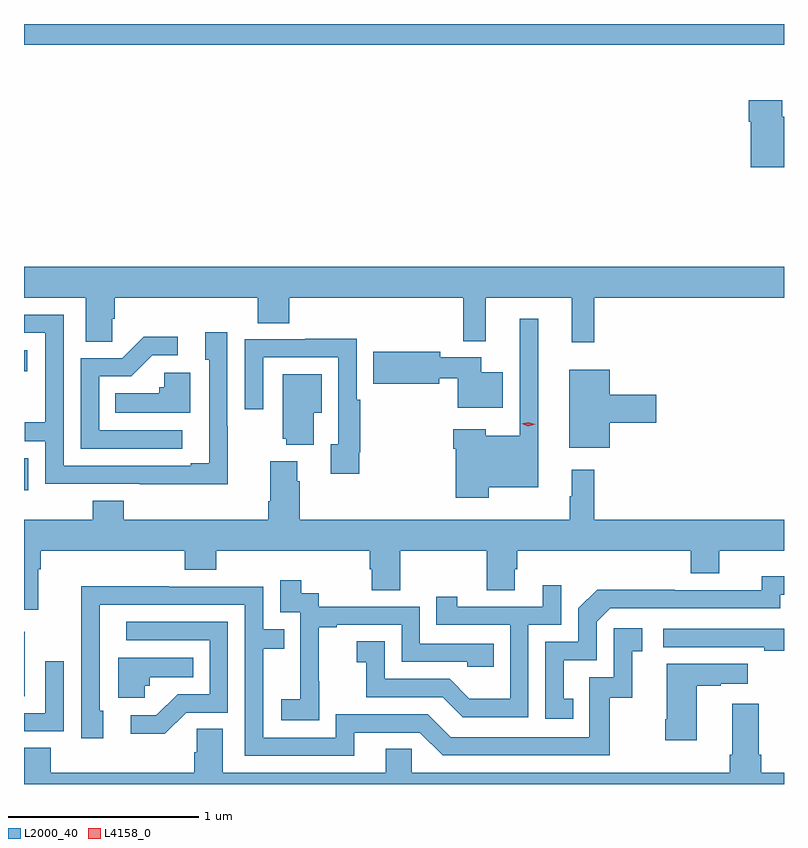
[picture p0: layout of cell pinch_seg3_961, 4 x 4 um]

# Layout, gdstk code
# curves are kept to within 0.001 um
import gdstk
lib = gdstk.Library(unit=1e-6, precision=1e-09)
def R(c, l, rs):  # rectangles x0, y0, x1, y1
    for r in rs: c.add(gdstk.rectangle(r[:2], r[2:], *l))
def P(c, l, *ps):  # polygons
    for p in ps: c.add(gdstk.Polygon(p, *l))
L2000_40 = (2000, 40)
L4158_0 = (4158, 0)

pinch_seg3_961 = lib.new_cell('pinch_seg3_961')
R(pinch_seg3_961, L2000_40, [(435.688,726.791,435.691,727.131), (435.688,727.875,435.711,728.043), (435.688,728.501,435.706,728.611), (435.688,730.22,439.688,730.329)])
P(pinch_seg3_961, L2000_40, [(439.688,729.841),(439.68,729.841),(439.68,729.928),(439.502,729.928),(439.502,729.815),(439.514,729.815),(439.514,729.575),(439.688,729.575)],
  [(438.689,728.888),(439.688,728.888),(439.688,729.052),(435.688,729.052),(435.688,728.888),(436.013,728.888),(436.013,728.656),(436.152,728.656),(436.152,728.779),(436.166,728.779),(436.166,728.888),(436.919,728.888),(436.919,728.755),(437.084,728.755),(437.084,728.888),(438.001,728.888),(438.001,728.66),(438.119,728.66),(438.119,728.888),(438.572,728.888),(438.572,728.655),(438.689,728.655)],
  [(436.761,728.213),(436.758,728.213),(436.758,728.707),(436.643,728.707),(436.643,728.562),(436.662,728.562),(436.662,728.017),(436.565,728.017),(436.565,728.004),(435.897,728.004),(435.897,728.799),(435.688,728.799),(435.688,728.703),(435.801,728.703),(435.801,728.234),(435.691,728.234),(435.691,728.133),(435.801,728.133),(435.801,727.908),(436.297,727.908),(436.297,727.907),(436.761,727.907)],
  [(438.135,727.892),(438.394,727.892),(438.394,728.779),(438.297,728.779),(438.297,728.161),(438.118,728.161),(438.118,728.197),(437.948,728.197),(437.948,728.093),(437.96,728.093),(437.96,727.835),(438.135,727.835)],
  [(436.522,728.19),(436.083,728.19),(436.083,728.475),(436.252,728.475),(436.363,728.586),(436.498,728.586),(436.498,728.684),(436.319,728.684),(436.206,728.571),(435.987,728.571),(435.987,728.094),(436.522,728.094)],
  [(437.452,728.074),(437.459,728.074),(437.459,728.351),(437.439,728.351),(437.439,728.672),(437.167,728.672),(437.167,728.67),(436.851,728.67),(436.851,728.301),(436.947,728.301),(436.947,728.574),(437.343,728.574),(437.343,728.118),(437.303,728.118),(437.303,727.962),(437.452,727.962)],
  [(438.208,728.497),(438.094,728.497),(438.094,728.575),(437.878,728.575),(437.878,728.605),(437.526,728.605),(437.526,728.435),(437.874,728.435),(437.874,728.465),(437.972,728.465),(437.972,728.309),(438.208,728.309)],
  [(438.772,728.231),(439.015,728.231),(439.015,728.378),(438.772,728.378),(438.772,728.509),(438.557,728.509),(438.557,728.099),(438.772,728.099)],
  [(436.564,728.494),(436.425,728.494),(436.425,728.418),(436.399,728.418),(436.399,728.386),(436.168,728.386),(436.168,728.282),(436.564,728.282)],
  [(437.212,728.282),(437.254,728.282),(437.254,728.485),(437.051,728.485),(437.051,728.145),(437.069,728.145),(437.069,728.114),(437.212,728.114)],
  [(435.763,727.46),(435.776,727.46),(435.776,727.556),(436.535,727.556),(436.535,727.457),(436.7,727.457),(436.7,727.556),(437.507,727.556),(437.507,727.458),(437.519,727.458),(437.519,727.348),(437.667,727.348),(437.667,727.556),(438.124,727.556),(438.124,727.348),(438.271,727.348),(438.271,727.458),(438.284,727.458),(438.284,727.556),(439.196,727.556),(439.196,727.439),(439.348,727.439),(439.348,727.556),(439.688,727.556),(439.688,727.72),(438.689,727.72),(438.689,727.984),(438.572,727.984),(438.572,727.844),(438.561,727.844),(438.561,727.72),(437.138,727.72),(437.138,727.922),(437.125,727.922),(437.125,728.029),(436.985,728.029),(436.985,727.816),(436.973,727.816),(436.973,727.72),(436.214,727.72),(436.214,727.819),(436.049,727.819),(436.049,727.72),(435.688,727.72),(435.688,727.247),(435.763,727.247)],
  [(438.578,726.777),(438.529,726.777),(438.529,726.981),(438.702,726.981),(438.702,727.182),(438.774,727.254),(439.668,727.254),(439.668,727.326),(439.688,727.326),(439.688,727.423),(439.572,727.423),(439.572,727.35),(439.112,727.35),(439.112,727.352),(438.704,727.352),(438.606,727.254),(438.606,727.077),(438.432,727.077),(438.432,726.672),(438.578,726.672)],
  [(437.241,726.871),(437.24,726.871),(437.24,727.155),(437.335,727.155),(437.335,727.167),(437.676,727.167),(437.676,726.972),(438.021,726.972),(438.021,726.945),(438.161,726.945),(438.161,727.068),(437.772,727.068),(437.772,727.263),(437.238,727.263),(437.238,727.332),(437.146,727.332),(437.146,727.402),(437.037,727.402),(437.037,727.233),(437.142,727.233),(437.142,727.004),(437.141,727.004),(437.141,726.775),(437.043,726.775),(437.043,726.665),(437.241,726.665)],
  [(438.342,727.167),(438.516,727.167),(438.516,727.375),(438.419,727.375),(438.419,727.263),(437.968,727.263),(437.968,727.315),(437.857,727.315),(437.857,727.167),(438.246,727.167),(438.246,726.778),(438.032,726.778),(437.928,726.882),(437.586,726.882),(437.586,727.081),(437.439,727.081),(437.439,726.971),(437.488,726.971),(437.488,726.786),(437.891,726.786),(437.996,726.681),(438.342,726.681)],
  [(437.425,726.6),(437.772,726.6),(437.892,726.48),(438.772,726.48),(438.772,726.783),(438.89,726.783),(438.89,727.029),(438.943,727.029),(438.943,727.15),(438.792,727.15),(438.792,726.891),(438.663,726.891),(438.663,726.576),(437.934,726.576),(437.814,726.696),(437.328,726.696),(437.328,726.573),(436.947,726.573),(436.947,727.042),(437.057,727.042),(437.057,727.143),(436.947,727.143),(436.947,727.368),(436.451,727.368),(436.451,727.37),(435.988,727.37),(435.988,727.063),(435.99,727.063),(435.99,726.57),(436.105,726.57),(436.105,726.714),(436.086,726.714),(436.087,727.272),(436.851,727.272),(436.851,726.477),(437.425,726.477)],
  [(436.542,726.705),(436.761,726.705),(436.761,727.182),(436.227,727.182),(436.227,727.086),(436.665,727.086),(436.665,726.801),(436.496,726.801),(436.385,726.69),(436.251,726.69),(436.251,726.593),(436.429,726.593)],
  [(439.688,727.146),(439.053,727.146),(439.053,727.05),(439.585,727.05),(439.585,727.03),(439.688,727.03)],
  [(436.323,726.846),(436.35,726.846),(436.35,726.89),(436.58,726.89),(436.58,726.994),(436.184,726.994),(436.184,726.782),(436.323,726.782)],
  [(435.897,726.976),(435.801,726.976),(435.801,726.702),(435.688,726.702),(435.688,726.606),(435.897,726.606)],
  [(439.228,726.847),(439.355,726.847),(439.355,726.857),(439.498,726.857),(439.498,726.961),(439.07,726.961),(439.07,726.67),(439.063,726.67),(439.063,726.558),(439.228,726.558)],
  [(436.735,726.62),(436.596,726.62),(436.596,726.497),(436.583,726.497),(436.583,726.388),(435.83,726.388),(435.83,726.521),(435.688,726.521),(435.688,726.329),(439.688,726.329),(439.688,726.388),(439.568,726.388),(439.568,726.484),(439.555,726.484),(439.555,726.751),(439.415,726.751),(439.415,726.484),(439.403,726.484),(439.403,726.388),(437.73,726.388),(437.73,726.515),(437.591,726.515),(437.591,726.388),(436.735,726.388)])
P(pinch_seg3_961, L4158_0, [(438.343,728.213),(438.308,728.225),(438.307,728.225),(438.308,728.225),(438.343,728.233),(438.379,728.222),(438.379,728.222),(438.379,728.222)])

lib.write_gds('pinch_seg3_961.gds')
